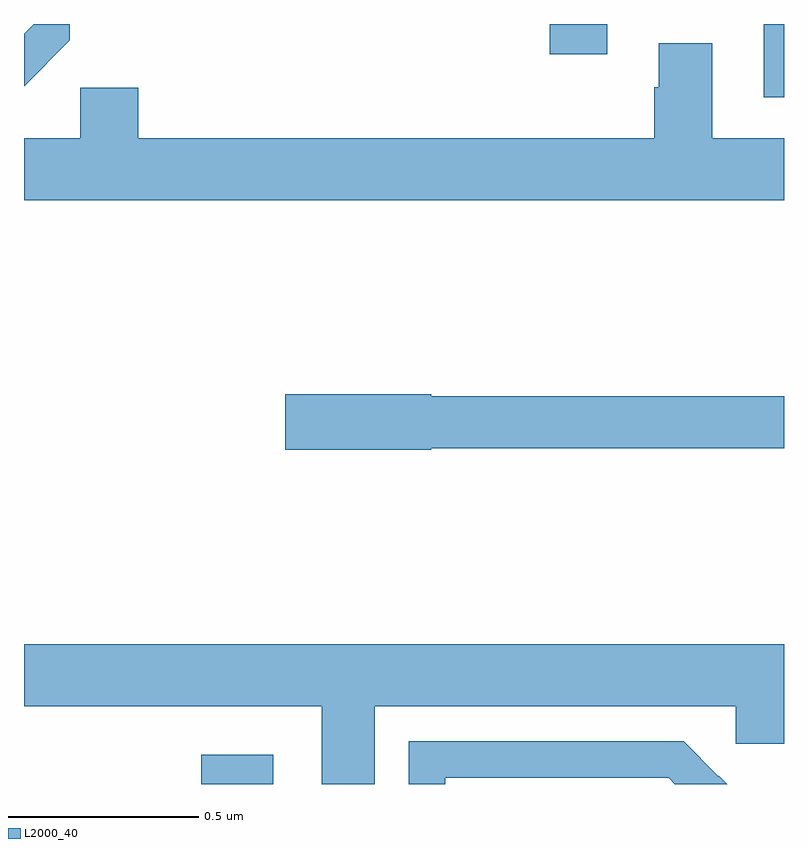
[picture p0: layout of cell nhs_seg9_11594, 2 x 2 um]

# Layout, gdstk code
import gdstk
lib = gdstk.Library(unit=1e-6, precision=1e-09)
def R(c, l, rs):  # rectangles x0, y0, x1, y1
    for r in rs: c.add(gdstk.rectangle(r[:2], r[2:], *l))
def P(c, l, *ps):  # polygons
    for p in ps: c.add(gdstk.Polygon(p, *l))
L2000_40 = (2000, 40)

nhs_seg9_11594 = lib.new_cell('nhs_seg9_11594')
R(nhs_seg9_11594, L2000_40, [(257.467,1245.5,257.656,1245.577), (258.947,1247.307,259,1247.5), (258.383,1247.421,258.535,1247.5)])
P(nhs_seg9_11594, L2000_40, [(257.121,1247.457),(257.121,1247.5),(257.025,1247.5),(257.025,1247.499),(257,1247.474),(257,1247.336)],
  [(259,1247.2),(258.811,1247.2),(258.811,1247.449),(258.671,1247.449),(258.671,1247.333),(258.659,1247.333),(258.659,1247.2),(257.3,1247.2),(257.3,1247.332),(257.148,1247.332),(257.148,1247.2),(257,1247.2),(257,1247.036),(259,1247.036)],
  [(258.072,1246.384),(259,1246.384),(259,1246.52),(258.072,1246.52),(258.072,1246.526),(257.688,1246.526),(257.688,1246.379),(258.072,1246.379)],
  [(257.923,1245.704),(258.873,1245.704),(258.873,1245.606),(259,1245.606),(259,1245.868),(257,1245.868),(257,1245.704),(257.783,1245.704),(257.783,1245.5),(257.923,1245.5)],
  [(258.109,1245.516),(258.697,1245.516),(258.713,1245.5),(258.85,1245.5),(258.828,1245.522),(258.827,1245.521),(258.736,1245.612),(258.012,1245.612),(258.012,1245.5),(258.109,1245.5)])

lib.write_gds('nhs_seg9_11594.gds')
